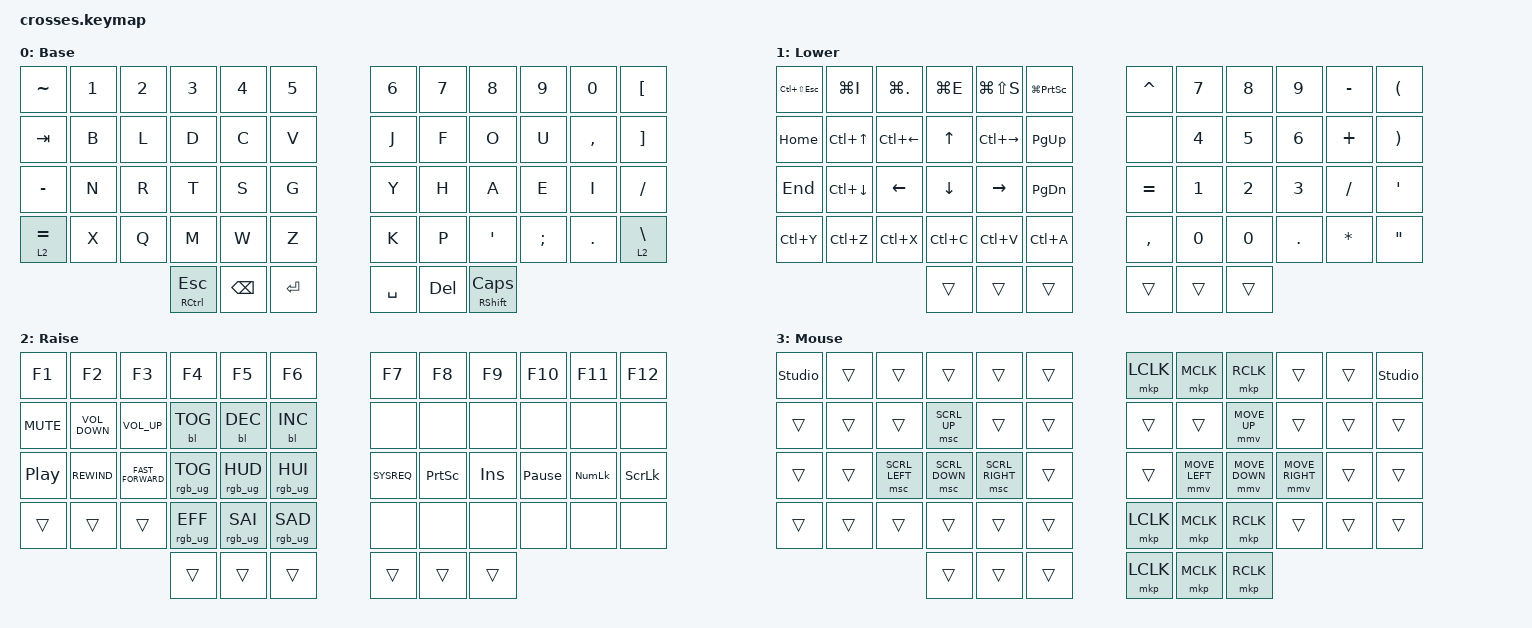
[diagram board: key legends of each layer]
#include <behaviors.dtsi>
#include <dt-bindings/zmk/backlight.h>
#include <dt-bindings/zmk/keys.h>
#include <dt-bindings/zmk/pointing.h>
#include <dt-bindings/zmk/rgb.h>

/ {
    chosen { zmk,physical-layout = &gggw_crosses_54_layout; };

    combos {
        compatible = "zmk,combos";

        Combo1 {
            bindings = <&kp LEFT_WIN>;
            key-positions = <50 49>;
        };

        Combo2 {
            bindings = <&tog 3>;
            key-positions = <49 48>;
        };

        Combo3 {
            bindings = <&kp RIGHT_ALT>;
            key-positions = <51 52>;
        };

        Combo4 {
            bindings = <&tog 1>;
            key-positions = <52 53>;
        };
    };

    keymap {
        compatible = "zmk,keymap";

        default_layer {
            display-name = "Base";
            bindings = <
&kp TILDE    &kp N1  &kp N2  &kp N3                    &kp N4         &kp N5     &kp N6     &kp N7   &kp N8                    &kp N9         &kp N0      &kp LEFT_BRACKET
&kp TAB      &kp B   &kp L   &kp D                     &kp C          &kp V      &kp J      &kp F    &kp O                     &kp U          &kp COMMA   &kp RIGHT_BRACKET
&kp MINUS    &kp N   &kp R   &kp T                     &kp S          &kp G      &kp Y      &kp H    &kp A                     &kp E          &kp I       &kp SLASH
&lt 2 EQUAL  &kp X   &kp Q   &kp M                     &kp W          &kp Z      &kp K      &kp P    &kp SQT                   &kp SEMICOLON  &kp PERIOD  &lt 2 BACKSLASH
                             &mt RIGHT_CONTROL ESCAPE  &kp BACKSPACE  &kp ENTER  &kp SPACE  &kp DEL  &mt RIGHT_SHIFT CAPSLOCK
            >;
        };

        lower_layer {
            display-name = "Lower";
            bindings = <
&kp LC(LS(ESCAPE))  &kp LG(I)           &kp LG(PERIOD)      &kp LG(E)       &kp LG(LS(S))        &kp LG(PRINTSCREEN)  &kp CARET  &kp NUMBER_7  &kp N8        &kp N9        &kp MINUS     &kp LEFT_PARENTHESIS
&kp HOME            &kp LC(UP_ARROW)    &kp LC(LEFT_ARROW)  &kp UP_ARROW    &kp LC(RIGHT_ARROW)  &kp PAGE_UP          &none      &kp NUMBER_4  &kp N5        &kp NUMBER_6  &kp PLUS      &kp RIGHT_PARENTHESIS
&kp END             &kp LC(DOWN_ARROW)  &kp LEFT_ARROW      &kp DOWN_ARROW  &kp RIGHT_ARROW      &kp PAGE_DOWN        &kp EQUAL  &kp NUMBER_1  &kp NUMBER_2  &kp NUMBER_3  &kp SLASH     &kp SQT
&kp LC(Y)           &kp LC(Z)           &kp LC(X)           &kp LC(C)       &kp LC(V)            &kp LC(A)            &kp COMMA  &kp N0        &kp N0        &kp PERIOD    &kp ASTERISK  &kp DOUBLE_QUOTES
                                                            &trans          &trans               &trans               &trans     &trans        &trans
            >;
        };

        raise_layer {
            display-name = "Raise";
            bindings = <
&kp F1            &kp F2             &kp F3              &kp F4           &kp F5           &kp F6           &kp F7      &kp F8           &kp F9      &kp F10          &kp F11         &kp F12
&kp C_MUTE        &kp C_VOLUME_DOWN  &kp C_VOLUME_UP     &bl BL_TOG       &bl BL_DEC       &bl BL_INC       &none       &none            &none       &none            &none           &none
&kp C_PLAY_PAUSE  &kp C_REWIND       &kp C_FAST_FORWARD  &rgb_ug RGB_TOG  &rgb_ug RGB_HUD  &rgb_ug RGB_HUI  &kp SYSREQ  &kp PRINTSCREEN  &kp INSERT  &kp PAUSE_BREAK  &kp KP_NUMLOCK  &kp SCROLLLOCK
&trans            &trans             &trans              &rgb_ug RGB_EFF  &rgb_ug RGB_SAI  &rgb_ug RGB_SAD  &none       &none            &none       &none            &none           &none
                                                         &trans           &trans           &trans           &trans      &trans           &trans
            >;
        };

        mouse_layer {
            display-name = "Mouse";
            bindings = <
&studio_unlock  &trans  &trans          &trans          &trans           &trans  &mkp LCLK  &mkp MCLK       &mkp RCLK       &trans           &trans  &studio_unlock
&trans          &trans  &trans          &msc SCRL_UP    &trans           &trans  &trans     &trans          &mmv MOVE_UP    &trans           &trans  &trans
&trans          &trans  &msc SCRL_LEFT  &msc SCRL_DOWN  &msc SCRL_RIGHT  &trans  &trans     &mmv MOVE_LEFT  &mmv MOVE_DOWN  &mmv MOVE_RIGHT  &trans  &trans
&trans          &trans  &trans          &trans          &trans           &trans  &mkp LCLK  &mkp MCLK       &mkp RCLK       &trans           &trans  &trans
                                        &trans          &trans           &trans  &mkp LCLK  &mkp MCLK       &mkp RCLK
            >;
        };
    };
};
